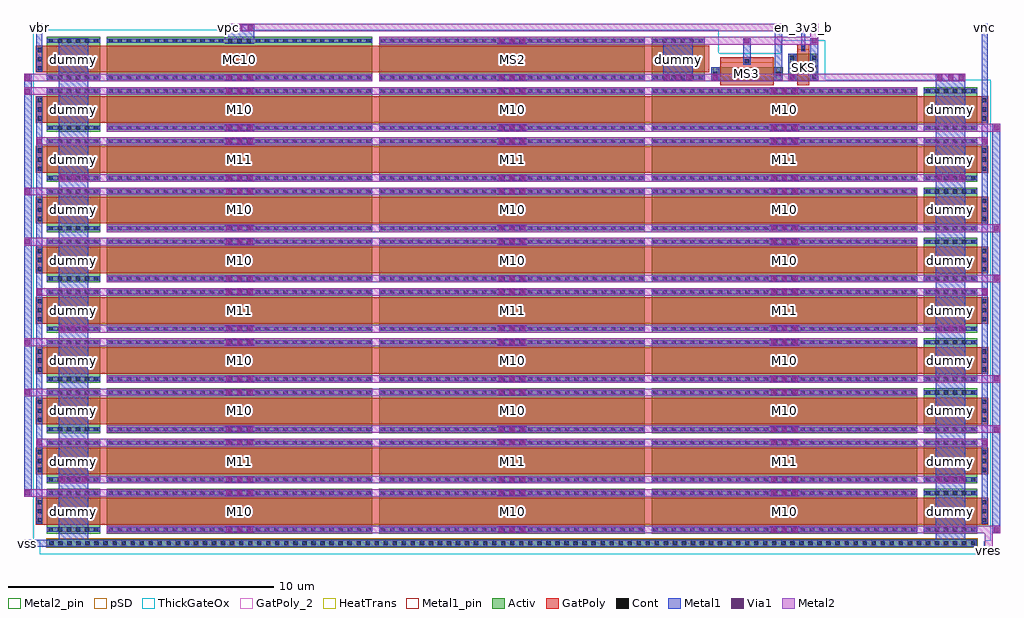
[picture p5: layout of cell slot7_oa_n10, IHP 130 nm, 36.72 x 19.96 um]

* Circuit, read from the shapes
.subckt slot7_oa_n10 en_3v3_b ks vbr vnc vpc vres vss
XM1 vss vnc vss vss sg13_hv_nmos w=2u l=1u m=18
XM2 vss vbr vss vss sg13_hv_nmos w=2u l=1u m=2
XM3 n1 vnc vres vss sg13_hv_nmos w=10u l=1u m=18
XM4 vnc vnc vss vss sg13_hv_nmos w=10u l=1u m=9
XM5 vpc vbr n1 vss sg13_hv_nmos w=10u l=1u
XM6 ks vbr vss vss sg13_hv_nmos w=10u l=1u
XM7 vpc ks vss vss sg13_hv_nmos w=0.5u l=2u
XM8 ks en_3v3_b vss vss sg13_hv_nmos w=1u l=0.45u
.ends

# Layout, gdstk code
from math import pi, radians
import gdstk
lib = gdstk.Library(unit=1e-6, precision=1e-09)
def R(c, l, rs):  # rectangles x0, y0, x1, y1
    for r in rs: c.add(gdstk.rectangle(r[:2], r[2:], *l))
def A(c, l, x, y, w, h, nx, ny, dx, dy):  # array of equal rectangles
    R(c, l, [(x+i*dx, y+j*dy, x+i*dx+w, y+j*dy+h) for i in range(nx) for j in range(ny)])
def P(c, l, *ps):  # polygons
    for p in ps: c.add(gdstk.Polygon(p, *l))
Activ = (1, 0)
GatPoly = (5, 0)
GatPoly_2 = (5, 2)
Cont = (6, 0)
Metal1 = (8, 0)
Metal1_pin = (8, 2)
Metal2 = (10, 0)
Metal2_pin = (10, 2)
pSD = (14, 0)
Via1 = (19, 0)
ThickGateOx = (44, 0)
HeatTrans = (51, 0)

slot7_nmoshv_7 = lib.new_cell('slot7_nmosHV_7')
R(slot7_nmoshv_7, Activ, [(0,0,0.3,0.3), (0,0,1.68,10), (1.38,0,1.68,0.3)])
R(slot7_nmoshv_7, GatPoly, [(0.34,-0.18,1.34,10.18)])
R(slot7_nmoshv_7, GatPoly_2, [(0.34,-0.18,1.34,10.18)])
A(slot7_nmoshv_7, Cont, 0.07, 0.07, 0.16, 0.16, 1, 4, 0, 0.345)
A(slot7_nmoshv_7, Cont, 1.45, 0.07, 0.16, 0.16, 1, 4, 0, 0.345)
A(slot7_nmoshv_7, Cont, 0.07, 1.455, 0.16, 0.16, 1, 3, 0, 0.345)
A(slot7_nmoshv_7, Cont, 1.45, 1.455, 0.16, 0.16, 1, 3, 0, 0.345)
A(slot7_nmoshv_7, Cont, 0.07, 2.495, 0.16, 0.16, 1, 4, 0, 0.345)
A(slot7_nmoshv_7, Cont, 1.45, 2.495, 0.16, 0.16, 1, 4, 0, 0.345)
A(slot7_nmoshv_7, Cont, 0.07, 3.88, 0.16, 0.16, 1, 3, 0, 0.345)
A(slot7_nmoshv_7, Cont, 1.45, 3.88, 0.16, 0.16, 1, 3, 0, 0.345)
A(slot7_nmoshv_7, Cont, 0.07, 4.92, 0.16, 0.16, 1, 4, 0, 0.345)
A(slot7_nmoshv_7, Cont, 1.45, 4.92, 0.16, 0.16, 1, 4, 0, 0.345)
A(slot7_nmoshv_7, Cont, 0.07, 6.305, 0.16, 0.16, 1, 3, 0, 0.345)
A(slot7_nmoshv_7, Cont, 1.45, 6.305, 0.16, 0.16, 1, 3, 0, 0.345)
A(slot7_nmoshv_7, Cont, 0.07, 7.345, 0.16, 0.16, 1, 4, 0, 0.345)
A(slot7_nmoshv_7, Cont, 1.45, 7.345, 0.16, 0.16, 1, 4, 0, 0.345)
A(slot7_nmoshv_7, Cont, 0.07, 8.73, 0.16, 0.16, 1, 3, 0, 0.345)
A(slot7_nmoshv_7, Cont, 1.45, 8.73, 0.16, 0.16, 1, 3, 0, 0.345)
R(slot7_nmoshv_7, Cont, [(0.07,9.77,0.23,9.93), (1.45,9.77,1.61,9.93)])
R(slot7_nmoshv_7, Metal1, [(0.07,0,0.23,10), (1.45,0,1.61,10)])
R(slot7_nmoshv_7, Metal1_pin, [(0.07,0,0.23,10), (1.45,0,1.61,10)])
R(slot7_nmoshv_7, ThickGateOx, [(-0.27,-0.52,1.95,10.52)])
R(slot7_nmoshv_7, HeatTrans, [(0.34,-0.18,1.34,10.18)])
slot7_nmoshv_7.add(gdstk.Label('nmosHV', (0.84,5), layer=63, texttype=0))
slot7_nmoshv_7.add(gdstk.Label('nmosHV', (0.84,5), layer=51, texttype=0))

slot7_nmoshv_w2_l1 = lib.new_cell('slot7_nmosHV_w2_l1')
R(slot7_nmoshv_w2_l1, Activ, [(0,0,0.3,0.3), (0,0,1.68,2), (1.38,0,1.68,0.3)])
R(slot7_nmoshv_w2_l1, GatPoly, [(0.34,-0.18,1.34,2.18)])
R(slot7_nmoshv_w2_l1, GatPoly_2, [(0.34,-0.18,1.34,2.18)])
A(slot7_nmoshv_w2_l1, Cont, 0.07, 0.07, 0.16, 0.16, 1, 6, 0, 0.34)
A(slot7_nmoshv_w2_l1, Cont, 1.45, 0.07, 0.16, 0.16, 1, 6, 0, 0.34)
R(slot7_nmoshv_w2_l1, Metal1, [(0.07,0,0.23,2), (1.45,0,1.61,2)])
R(slot7_nmoshv_w2_l1, Metal1_pin, [(0.07,0,0.23,2), (1.45,0,1.61,2)])
R(slot7_nmoshv_w2_l1, ThickGateOx, [(-0.27,-0.52,1.95,2.52)])
R(slot7_nmoshv_w2_l1, HeatTrans, [(0.34,-0.18,1.34,2.18)])
slot7_nmoshv_w2_l1.add(gdstk.Label('nmosHV', (0.84,1), layer=63, texttype=0))
slot7_nmoshv_w2_l1.add(gdstk.Label('nmosHV', (0.84,1), layer=51, texttype=0))

slot7_nmoshv_9 = lib.new_cell('slot7_nmosHV_9')
R(slot7_nmoshv_9, Activ, [(0,0,0.3,0.3), (0,0,2.68,0.5), (2.38,0,2.68,0.3)])
R(slot7_nmoshv_9, GatPoly, [(0.34,-0.18,2.34,0.68)])
R(slot7_nmoshv_9, GatPoly_2, [(0.34,-0.18,2.34,0.68)])
R(slot7_nmoshv_9, Cont, [(0.07,0.17,0.23,0.33), (2.45,0.17,2.61,0.33)])
R(slot7_nmoshv_9, Metal1, [(0.07,0,0.23,0.5), (2.45,0,2.61,0.5)])
R(slot7_nmoshv_9, Metal1_pin, [(0.07,0,0.23,0.5), (2.45,0,2.61,0.5)])
R(slot7_nmoshv_9, ThickGateOx, [(-0.27,-0.52,2.95,1.02)])
R(slot7_nmoshv_9, HeatTrans, [(0.34,-0.18,2.34,0.68)])
slot7_nmoshv_9.add(gdstk.Label('nmosHV', (1.34,0.25), layer=63, texttype=0))
slot7_nmoshv_9.add(gdstk.Label('nmosHV', (1.34,0.25), layer=51, texttype=0))

slot7_nmoshv_5 = lib.new_cell('slot7_nmosHV_5')
R(slot7_nmoshv_5, Activ, [(0,0,0.3,0.3), (0,0,1.13,1), (0.83,0,1.13,0.3)])
R(slot7_nmoshv_5, GatPoly, [(0.34,-0.18,0.79,1.18)])
R(slot7_nmoshv_5, GatPoly_2, [(0.34,-0.18,0.79,1.18)])
A(slot7_nmoshv_5, Cont, 0.07, 0.07, 0.16, 0.16, 1, 3, 0, 0.35)
A(slot7_nmoshv_5, Cont, 0.9, 0.07, 0.16, 0.16, 1, 3, 0, 0.35)
R(slot7_nmoshv_5, Metal1, [(0.07,0,0.23,1), (0.9,0,1.06,1)])
R(slot7_nmoshv_5, Metal1_pin, [(0.07,0,0.23,1), (0.9,0,1.06,1)])
R(slot7_nmoshv_5, ThickGateOx, [(-0.27,-0.52,1.4,1.52)])
R(slot7_nmoshv_5, HeatTrans, [(0.34,-0.18,0.79,1.18)])
slot7_nmoshv_5.add(gdstk.Label('nmosHV', (0.565,0.5), layer=63, texttype=0))
slot7_nmoshv_5.add(gdstk.Label('nmosHV', (0.565,0.5), layer=51, texttype=0))

slot7_oa_n10 = lib.new_cell('slot7_oa_n10')
R(slot7_oa_n10, Activ, [(0,-0.51,35,-0.21)])
A(slot7_oa_n10, GatPoly, -0.41, 0.34, 0.41, 1, 1, 10, 0, 1.89)
A(slot7_oa_n10, GatPoly, 35, 0.34, 0.41, 1, 1, 9, 0, 1.89)
R(slot7_oa_n10, GatPoly, [(25.34,17.55,27.34,17.92), (28.23,18.05,28.68,18.42)])
A(slot7_oa_n10, Cont, 0.09, -0.44, 0.16, 0.16, 103, 1, 0.34, 0)
A(slot7_oa_n10, Cont, -0.34, 0.42, 0.16, 0.16, 1, 3, 0, 0.34)
A(slot7_oa_n10, Cont, 35.18, 0.42, 0.16, 0.16, 1, 3, 0, 0.34)
A(slot7_oa_n10, Cont, -0.34, 2.31, 0.16, 0.16, 1, 3, 0, 0.34)
A(slot7_oa_n10, Cont, 35.18, 2.31, 0.16, 0.16, 1, 3, 0, 0.34)
A(slot7_oa_n10, Cont, -0.34, 4.2, 0.16, 0.16, 1, 3, 0, 0.34)
A(slot7_oa_n10, Cont, 35.18, 4.2, 0.16, 0.16, 1, 3, 0, 0.34)
A(slot7_oa_n10, Cont, -0.34, 6.09, 0.16, 0.16, 1, 3, 0, 0.34)
A(slot7_oa_n10, Cont, 35.18, 6.09, 0.16, 0.16, 1, 3, 0, 0.34)
A(slot7_oa_n10, Cont, -0.34, 7.98, 0.16, 0.16, 1, 3, 0, 0.34)
A(slot7_oa_n10, Cont, 35.18, 7.98, 0.16, 0.16, 1, 3, 0, 0.34)
A(slot7_oa_n10, Cont, -0.34, 9.87, 0.16, 0.16, 1, 3, 0, 0.34)
A(slot7_oa_n10, Cont, 35.18, 9.87, 0.16, 0.16, 1, 3, 0, 0.34)
A(slot7_oa_n10, Cont, -0.34, 11.76, 0.16, 0.16, 1, 3, 0, 0.34)
A(slot7_oa_n10, Cont, 35.18, 11.76, 0.16, 0.16, 1, 3, 0, 0.34)
A(slot7_oa_n10, Cont, -0.34, 13.65, 0.16, 0.16, 1, 3, 0, 0.34)
A(slot7_oa_n10, Cont, 35.18, 13.65, 0.16, 0.16, 1, 3, 0, 0.34)
A(slot7_oa_n10, Cont, -0.34, 15.54, 0.16, 0.16, 1, 3, 0, 0.34)
A(slot7_oa_n10, Cont, 35.18, 15.54, 0.16, 0.16, 1, 3, 0, 0.34)
A(slot7_oa_n10, Cont, -0.34, 17.43, 0.16, 0.16, 1, 3, 0, 0.34)
R(slot7_oa_n10, Cont, [(26.26,17.69,26.42,17.85), (28.375,18.19,28.535,18.35)])
A(slot7_oa_n10, Metal1, 6.695, 0.045, 1.11, 0.21, 3, 2, 10.25, 1.38)
A(slot7_oa_n10, Metal1, 6.695, 1.935, 1.11, 0.21, 3, 2, 10.25, 1.38)
A(slot7_oa_n10, Metal1, 6.695, 3.825, 1.11, 0.21, 3, 2, 10.25, 1.38)
A(slot7_oa_n10, Metal1, 6.695, 5.715, 1.11, 0.21, 3, 2, 10.25, 1.38)
A(slot7_oa_n10, Metal1, 6.695, 7.605, 1.11, 0.21, 3, 2, 10.25, 1.38)
A(slot7_oa_n10, Metal1, 6.695, 9.495, 1.11, 0.21, 3, 2, 10.25, 1.38)
A(slot7_oa_n10, Metal1, 6.695, 11.385, 1.11, 0.21, 3, 2, 10.25, 1.38)
A(slot7_oa_n10, Metal1, 6.695, 13.275, 1.11, 0.21, 3, 2, 10.25, 1.38)
A(slot7_oa_n10, Metal1, 6.695, 15.165, 1.11, 0.21, 3, 2, 10.25, 1.38)
R(slot7_oa_n10, Metal1, [(-0.86,-0.49,0.04,-0.23), (0.04,-0.49,34.98,-0.23), (0.445,-0.49,1.555,18.645), (33.445,-0.49,34.555,17.305), (35.57,0.005,35.86,15.415), (-0.39,0.37,-0.18,16.43), (35.18,0.37,35.39,19.185), (-0.86,1.385,-0.57,17.305), (27.385,17.05,27.675,19.145), (28.725,17.05,29.015,18.645), (6.695,17.055,7.805,17.265), (16.945,17.055,18.055,17.265), (23.195,17.055,24.305,18.645), (25.005,17.055,25.295,17.55), (27.895,17.055,28.185,18.05), (-0.39,17.38,-0.18,19.185), (26.195,17.64,26.485,18.645), (28.375,18.14,28.535,19.185), (6.695,18.435,7.805,19.145), (16.945,18.435,18.055,18.645)])
R(slot7_oa_n10, Metal1_pin, [(-0.86,-0.49,-0.57,-0.23), (-0.39,18.895,-0.18,19.185), (28.375,18.895,28.535,19.185), (35.18,18.895,35.39,19.185)])
R(slot7_oa_n10, Metal2, [(35.295,-0.78,35.585,0.295), (28.725,18.395,29.015,19.185)])
R(slot7_oa_n10, Metal2_pin, [(35.295,-0.78,35.585,-0.49), (6.695,18.895,6.985,19.185), (28.725,18.895,29.015,19.185)])
R(slot7_oa_n10, pSD, [(-0.03,-0.54,35.03,-0.18)])
A(slot7_oa_n10, Via1, 6.745, 0.055, 0.19, 0.19, 3, 2, 0.41, 1.38)
A(slot7_oa_n10, Via1, 16.995, 0.055, 0.19, 0.19, 3, 2, 0.41, 1.38)
A(slot7_oa_n10, Via1, 27.245, 0.055, 0.19, 0.19, 3, 2, 0.41, 1.38)
A(slot7_oa_n10, Via1, 0.495, 1.945, 0.19, 0.19, 3, 3, 0.41, 5.67)
A(slot7_oa_n10, Via1, 6.745, 1.945, 0.19, 0.19, 3, 2, 0.41, 1.38)
A(slot7_oa_n10, Via1, 16.995, 1.945, 0.19, 0.19, 3, 2, 0.41, 1.38)
A(slot7_oa_n10, Via1, 27.245, 1.945, 0.19, 0.19, 3, 2, 0.41, 1.38)
A(slot7_oa_n10, Via1, 33.495, 1.945, 0.19, 0.19, 3, 3, 0.41, 5.67)
A(slot7_oa_n10, Via1, -0.38, 3.325, 0.19, 0.19, 1, 3, 0, 5.67)
A(slot7_oa_n10, Via1, 35.19, 3.325, 0.19, 0.19, 1, 3, 0, 5.67)
A(slot7_oa_n10, Via1, 6.745, 3.835, 0.19, 0.19, 3, 2, 0.41, 1.38)
A(slot7_oa_n10, Via1, 16.995, 3.835, 0.19, 0.19, 3, 2, 0.41, 1.38)
A(slot7_oa_n10, Via1, 27.245, 3.835, 0.19, 0.19, 3, 2, 0.41, 1.38)
A(slot7_oa_n10, Via1, 6.745, 5.725, 0.19, 0.19, 3, 2, 0.41, 1.38)
A(slot7_oa_n10, Via1, 16.995, 5.725, 0.19, 0.19, 3, 2, 0.41, 1.38)
A(slot7_oa_n10, Via1, 27.245, 5.725, 0.19, 0.19, 3, 2, 0.41, 1.38)
A(slot7_oa_n10, Via1, 6.745, 7.615, 0.19, 0.19, 3, 2, 0.41, 1.38)
A(slot7_oa_n10, Via1, 16.995, 7.615, 0.19, 0.19, 3, 2, 0.41, 1.38)
A(slot7_oa_n10, Via1, 27.245, 7.615, 0.19, 0.19, 3, 2, 0.41, 1.38)
A(slot7_oa_n10, Via1, 6.745, 9.505, 0.19, 0.19, 3, 2, 0.41, 1.38)
A(slot7_oa_n10, Via1, 16.995, 9.505, 0.19, 0.19, 3, 2, 0.41, 1.38)
A(slot7_oa_n10, Via1, 27.245, 9.505, 0.19, 0.19, 3, 2, 0.41, 1.38)
A(slot7_oa_n10, Via1, 6.745, 11.395, 0.19, 0.19, 3, 2, 0.41, 1.38)
A(slot7_oa_n10, Via1, 16.995, 11.395, 0.19, 0.19, 3, 2, 0.41, 1.38)
A(slot7_oa_n10, Via1, 27.245, 11.395, 0.19, 0.19, 3, 2, 0.41, 1.38)
A(slot7_oa_n10, Via1, 6.745, 13.285, 0.19, 0.19, 3, 2, 0.41, 1.38)
A(slot7_oa_n10, Via1, 16.995, 13.285, 0.19, 0.19, 3, 2, 0.41, 1.38)
A(slot7_oa_n10, Via1, 27.245, 13.285, 0.19, 0.19, 3, 2, 0.41, 1.38)
A(slot7_oa_n10, Via1, 6.745, 15.175, 0.19, 0.19, 3, 2, 0.41, 1.38)
A(slot7_oa_n10, Via1, 16.995, 15.175, 0.19, 0.19, 3, 2, 0.41, 1.38)
A(slot7_oa_n10, Via1, 27.245, 15.175, 0.19, 0.19, 3, 2, 0.41, 1.38)
A(slot7_oa_n10, Via1, 6.745, 17.065, 0.19, 0.19, 3, 2, 0.41, 1.88)
A(slot7_oa_n10, Via1, 16.995, 17.065, 0.19, 0.19, 3, 2, 0.41, 1.38)
A(slot7_oa_n10, Via1, 23.245, 17.065, 0.19, 0.19, 3, 1, 0.41, 0)
A(slot7_oa_n10, Via1, 33.495, 17.065, 0.19, 0.19, 3, 1, 0.41, 0)
R(slot7_oa_n10, Via1, [(35.62,0.055,35.81,0.245), (-0.81,1.435,-0.62,1.625), (35.62,3.835,35.81,4.025), (-0.81,5.215,-0.62,5.405), (35.62,5.725,35.81,5.915), (-0.81,7.105,-0.62,7.295), (35.62,9.505,35.81,9.695), (-0.81,10.885,-0.62,11.075), (35.62,11.395,35.81,11.585), (-0.81,12.775,-0.62,12.965), (35.62,15.175,35.81,15.365), (-0.81,16.555,-0.62,16.745), (-0.81,17.065,-0.62,17.255), (25.055,17.065,25.245,17.255), (27.945,17.065,28.135,17.255), (26.245,18.445,26.435,18.635), (28.775,18.445,28.965,18.635), (27.435,18.945,27.625,19.135)])
P(slot7_oa_n10, ThickGateOx, [(-0.27,-0.78),(-0.27,-0.27),(-0.52,-0.27),(-0.52,18.96),(25.27,18.96),(25.27,18.07),(27.62,18.07),(27.62,18.57),(29.29,18.57),(29.29,17.07),(35.52,17.07),(35.52,-0.27),(35.27,-0.27),(35.27,-0.78)])
slot7_oa_n10.add(gdstk.FlexPath([(2.395,0.15),(35.715,0.15)], 0.29, ends="extended", simple_path=True, layer=10, datatype=0))  # Metal2
slot7_oa_n10.add(gdstk.FlexPath([(-0.715,1.53),(32.605,1.53)], 0.29, ends="extended", simple_path=True, layer=10, datatype=0))  # Metal2
slot7_oa_n10.add(gdstk.FlexPath([(0.59,2.04),(34.41,2.04)], 0.29, ends="extended", simple_path=True, layer=10, datatype=0))  # Metal2
slot7_oa_n10.add(gdstk.FlexPath([(-0.245,3.42),(35.245,3.42)], 0.29, ends="extended", simple_path=True, layer=10, datatype=0))  # Metal2
slot7_oa_n10.add(gdstk.FlexPath([(2.395,3.93),(35.715,3.93)], 0.29, ends="extended", simple_path=True, layer=10, datatype=0))  # Metal2
slot7_oa_n10.add(gdstk.FlexPath([(-0.715,5.31),(32.605,5.31)], 0.29, ends="extended", simple_path=True, layer=10, datatype=0))  # Metal2
slot7_oa_n10.add(gdstk.FlexPath([(2.395,5.82),(35.715,5.82)], 0.29, ends="extended", simple_path=True, layer=10, datatype=0))  # Metal2
slot7_oa_n10.add(gdstk.FlexPath([(-0.715,7.2),(32.605,7.2)], 0.29, ends="extended", simple_path=True, layer=10, datatype=0))  # Metal2
slot7_oa_n10.add(gdstk.FlexPath([(0.59,7.71),(34.41,7.71)], 0.29, ends="extended", simple_path=True, layer=10, datatype=0))  # Metal2
slot7_oa_n10.add(gdstk.FlexPath([(-0.245,9.09),(35.245,9.09)], 0.29, ends="extended", simple_path=True, layer=10, datatype=0))  # Metal2
slot7_oa_n10.add(gdstk.FlexPath([(2.395,9.6),(35.715,9.6)], 0.29, ends="extended", simple_path=True, layer=10, datatype=0))  # Metal2
slot7_oa_n10.add(gdstk.FlexPath([(-0.715,10.98),(32.605,10.98)], 0.29, ends="extended", simple_path=True, layer=10, datatype=0))  # Metal2
slot7_oa_n10.add(gdstk.FlexPath([(2.395,11.49),(35.715,11.49)], 0.29, ends="extended", simple_path=True, layer=10, datatype=0))  # Metal2
slot7_oa_n10.add(gdstk.FlexPath([(-0.715,12.87),(32.605,12.87)], 0.29, ends="extended", simple_path=True, layer=10, datatype=0))  # Metal2
slot7_oa_n10.add(gdstk.FlexPath([(0.59,13.38),(34.41,13.38)], 0.29, ends="extended", simple_path=True, layer=10, datatype=0))  # Metal2
slot7_oa_n10.add(gdstk.FlexPath([(-0.245,14.76),(35.245,14.76)], 0.29, ends="extended", simple_path=True, layer=10, datatype=0))  # Metal2
slot7_oa_n10.add(gdstk.FlexPath([(2.395,15.27),(35.715,15.27)], 0.29, ends="extended", simple_path=True, layer=10, datatype=0))  # Metal2
slot7_oa_n10.add(gdstk.FlexPath([(-0.715,16.65),(32.605,16.65)], 0.29, ends="extended", simple_path=True, layer=10, datatype=0))  # Metal2
slot7_oa_n10.add(gdstk.FlexPath([(-0.715,17.16),(12.105,17.16)], 0.29, ends="extended", simple_path=True, layer=10, datatype=0))  # Metal2
slot7_oa_n10.add(gdstk.FlexPath([(12.645,17.16),(34.41,17.16)], 0.29, ends="extended", simple_path=True, layer=10, datatype=0))  # Metal2
slot7_oa_n10.add(gdstk.FlexPath([(12.645,18.54),(28.87,18.54)], 0.29, ends="extended", simple_path=True, layer=10, datatype=0))  # Metal2
slot7_oa_n10.add(gdstk.FlexPath([(6.84,19.04),(27.53,19.04)], 0.29, ends="extended", simple_path=True, layer=10, datatype=0))  # Metal2
r = gdstk.Reference(slot7_nmoshv_7, (2.25,1.68), rotation=3*pi/2); r.repetition = gdstk.Repetition(1, 3, v1=(0,0), v2=(10.25,0)); slot7_oa_n10.add(r)
r = gdstk.Reference(slot7_nmoshv_7, (2.25,18.69), rotation=3*pi/2); r.repetition = gdstk.Repetition(1, 2, v1=(0,0), v2=(10.25,0)); slot7_oa_n10.add(r)
r = gdstk.Reference(slot7_nmoshv_7, (2.25,16.8), rotation=3*pi/2); r.repetition = gdstk.Repetition(1, 3, v1=(0,0), v2=(10.25,0)); slot7_oa_n10.add(r)
r = gdstk.Reference(slot7_nmoshv_7, (2.25,14.91), rotation=3*pi/2); r.repetition = gdstk.Repetition(1, 3, v1=(0,0), v2=(10.25,0)); slot7_oa_n10.add(r)
r = gdstk.Reference(slot7_nmoshv_7, (2.25,13.02), rotation=3*pi/2); r.repetition = gdstk.Repetition(1, 3, v1=(0,0), v2=(10.25,0)); slot7_oa_n10.add(r)
r = gdstk.Reference(slot7_nmoshv_7, (2.25,11.13), rotation=3*pi/2); r.repetition = gdstk.Repetition(1, 3, v1=(0,0), v2=(10.25,0)); slot7_oa_n10.add(r)
r = gdstk.Reference(slot7_nmoshv_7, (2.25,9.24), rotation=3*pi/2); r.repetition = gdstk.Repetition(1, 3, v1=(0,0), v2=(10.25,0)); slot7_oa_n10.add(r)
r = gdstk.Reference(slot7_nmoshv_7, (2.25,7.35), rotation=3*pi/2); r.repetition = gdstk.Repetition(1, 3, v1=(0,0), v2=(10.25,0)); slot7_oa_n10.add(r)
r = gdstk.Reference(slot7_nmoshv_7, (2.25,5.46), rotation=3*pi/2); r.repetition = gdstk.Repetition(1, 3, v1=(0,0), v2=(10.25,0)); slot7_oa_n10.add(r)
r = gdstk.Reference(slot7_nmoshv_7, (2.25,3.57), rotation=3*pi/2); r.repetition = gdstk.Repetition(1, 3, v1=(0,0), v2=(10.25,0)); slot7_oa_n10.add(r)
slot7_oa_n10.add(gdstk.Reference(slot7_nmoshv_w2_l1, (0,7.35), rotation=3*pi/2))
slot7_oa_n10.add(gdstk.Reference(slot7_nmoshv_w2_l1, (22.75,18.69), rotation=3*pi/2))
slot7_oa_n10.add(gdstk.Reference(slot7_nmoshv_w2_l1, (0,1.68), rotation=3*pi/2))
slot7_oa_n10.add(gdstk.Reference(slot7_nmoshv_w2_l1, (0,18.69), rotation=3*pi/2))
slot7_oa_n10.add(gdstk.Reference(slot7_nmoshv_w2_l1, (33,16.8), rotation=3*pi/2))
slot7_oa_n10.add(gdstk.Reference(slot7_nmoshv_w2_l1, (33,1.68), rotation=3*pi/2))
slot7_oa_n10.add(gdstk.Reference(slot7_nmoshv_w2_l1, (0,16.8), rotation=3*pi/2))
slot7_oa_n10.add(gdstk.Reference(slot7_nmoshv_w2_l1, (33,14.91), rotation=3*pi/2))
slot7_oa_n10.add(gdstk.Reference(slot7_nmoshv_w2_l1, (0,3.57), rotation=3*pi/2))
slot7_oa_n10.add(gdstk.Reference(slot7_nmoshv_w2_l1, (0,14.91), rotation=3*pi/2))
slot7_oa_n10.add(gdstk.Reference(slot7_nmoshv_w2_l1, (33,13.02), rotation=3*pi/2))
slot7_oa_n10.add(gdstk.Reference(slot7_nmoshv_w2_l1, (0,13.02), rotation=3*pi/2))
slot7_oa_n10.add(gdstk.Reference(slot7_nmoshv_w2_l1, (33,11.13), rotation=3*pi/2))
slot7_oa_n10.add(gdstk.Reference(slot7_nmoshv_w2_l1, (33,3.57), rotation=3*pi/2))
slot7_oa_n10.add(gdstk.Reference(slot7_nmoshv_w2_l1, (0,11.13), rotation=3*pi/2))
slot7_oa_n10.add(gdstk.Reference(slot7_nmoshv_w2_l1, (33,9.24), rotation=3*pi/2))
slot7_oa_n10.add(gdstk.Reference(slot7_nmoshv_w2_l1, (0,5.46), rotation=3*pi/2))
slot7_oa_n10.add(gdstk.Reference(slot7_nmoshv_w2_l1, (0,9.24), rotation=3*pi/2))
slot7_oa_n10.add(gdstk.Reference(slot7_nmoshv_w2_l1, (33,7.35), rotation=3*pi/2))
slot7_oa_n10.add(gdstk.Reference(slot7_nmoshv_w2_l1, (33,5.46), rotation=3*pi/2))
slot7_oa_n10.add(gdstk.Reference(slot7_nmoshv_9, (25,17.05)))
slot7_oa_n10.add(gdstk.Reference(slot7_nmoshv_5, (27.89,17.05)))
slot7_oa_n10.add(gdstk.Label('en_3v3_b', (28.455,19.04), layer=8, texttype=25))
slot7_oa_n10.add(gdstk.Label('vnc', (35.285,19.04), layer=8, texttype=25))
slot7_oa_n10.add(gdstk.Label('vbr', (-0.285,19.04), layer=8, texttype=25))
slot7_oa_n10.add(gdstk.Label('vss', (-0.715,-0.36), layer=8, texttype=25))
slot7_oa_n10.add(gdstk.Label('ks', (28.87,19.04), layer=10, texttype=25))
slot7_oa_n10.add(gdstk.Label('vpc', (6.84,19.04), layer=10, texttype=25))
slot7_oa_n10.add(gdstk.Label('vres', (35.44,-0.635), layer=10, texttype=25))
slot7_oa_n10.add(gdstk.Label('dummy', (1,0.84), layer=63, texttype=0))
slot7_oa_n10.add(gdstk.Label('M10', (7.25,0.84), layer=63, texttype=0))
slot7_oa_n10.add(gdstk.Label('M10', (17.5,0.84), layer=63, texttype=0))
slot7_oa_n10.add(gdstk.Label('M10', (27.75,0.84), layer=63, texttype=0))
slot7_oa_n10.add(gdstk.Label('dummy', (34,0.84), layer=63, texttype=0))
slot7_oa_n10.add(gdstk.Label('dummy', (1,2.73), layer=63, texttype=0))
slot7_oa_n10.add(gdstk.Label('M11', (7.25,2.73), layer=63, texttype=0))
slot7_oa_n10.add(gdstk.Label('M11', (17.5,2.73), layer=63, texttype=0))
slot7_oa_n10.add(gdstk.Label('M11', (27.75,2.73), layer=63, texttype=0))
slot7_oa_n10.add(gdstk.Label('dummy', (34,2.73), layer=63, texttype=0))
slot7_oa_n10.add(gdstk.Label('dummy', (1,4.62), layer=63, texttype=0))
slot7_oa_n10.add(gdstk.Label('M10', (7.25,4.62), layer=63, texttype=0))
slot7_oa_n10.add(gdstk.Label('M10', (17.5,4.62), layer=63, texttype=0))
slot7_oa_n10.add(gdstk.Label('M10', (27.75,4.62), layer=63, texttype=0))
slot7_oa_n10.add(gdstk.Label('dummy', (34,4.62), layer=63, texttype=0))
slot7_oa_n10.add(gdstk.Label('dummy', (1,6.51), layer=63, texttype=0))
slot7_oa_n10.add(gdstk.Label('M10', (7.25,6.51), layer=63, texttype=0))
slot7_oa_n10.add(gdstk.Label('M10', (17.5,6.51), layer=63, texttype=0))
slot7_oa_n10.add(gdstk.Label('M10', (27.75,6.51), layer=63, texttype=0))
slot7_oa_n10.add(gdstk.Label('dummy', (34,6.51), layer=63, texttype=0))
slot7_oa_n10.add(gdstk.Label('dummy', (1,8.4), layer=63, texttype=0))
slot7_oa_n10.add(gdstk.Label('M11', (7.25,8.4), layer=63, texttype=0))
slot7_oa_n10.add(gdstk.Label('M11', (17.5,8.4), layer=63, texttype=0))
slot7_oa_n10.add(gdstk.Label('M11', (27.75,8.4), layer=63, texttype=0))
slot7_oa_n10.add(gdstk.Label('dummy', (34,8.4), layer=63, texttype=0))
slot7_oa_n10.add(gdstk.Label('dummy', (1,10.29), layer=63, texttype=0))
slot7_oa_n10.add(gdstk.Label('M10', (7.25,10.29), layer=63, texttype=0))
slot7_oa_n10.add(gdstk.Label('M10', (17.5,10.29), layer=63, texttype=0))
slot7_oa_n10.add(gdstk.Label('M10', (27.75,10.29), layer=63, texttype=0))
slot7_oa_n10.add(gdstk.Label('dummy', (34,10.29), layer=63, texttype=0))
slot7_oa_n10.add(gdstk.Label('dummy', (1,12.18), layer=63, texttype=0))
slot7_oa_n10.add(gdstk.Label('M10', (7.25,12.18), layer=63, texttype=0))
slot7_oa_n10.add(gdstk.Label('M10', (17.5,12.18), layer=63, texttype=0))
slot7_oa_n10.add(gdstk.Label('M10', (27.75,12.18), layer=63, texttype=0))
slot7_oa_n10.add(gdstk.Label('dummy', (34,12.18), layer=63, texttype=0))
slot7_oa_n10.add(gdstk.Label('dummy', (1,14.07), layer=63, texttype=0))
slot7_oa_n10.add(gdstk.Label('M11', (7.25,14.07), layer=63, texttype=0))
slot7_oa_n10.add(gdstk.Label('M11', (17.5,14.07), layer=63, texttype=0))
slot7_oa_n10.add(gdstk.Label('M11', (27.75,14.07), layer=63, texttype=0))
slot7_oa_n10.add(gdstk.Label('dummy', (34,14.07), layer=63, texttype=0))
slot7_oa_n10.add(gdstk.Label('dummy', (1,15.96), layer=63, texttype=0))
slot7_oa_n10.add(gdstk.Label('M10', (7.25,15.96), layer=63, texttype=0))
slot7_oa_n10.add(gdstk.Label('M10', (17.5,15.96), layer=63, texttype=0))
slot7_oa_n10.add(gdstk.Label('M10', (27.75,15.96), layer=63, texttype=0))
slot7_oa_n10.add(gdstk.Label('dummy', (34,15.96), layer=63, texttype=0))
slot7_oa_n10.add(gdstk.Label('dummy', (1,17.85), layer=63, texttype=0))
slot7_oa_n10.add(gdstk.Label('MC10', (7.25,17.85), layer=63, texttype=0))
slot7_oa_n10.add(gdstk.Label('MS2', (17.5,17.85), layer=63, texttype=0))
slot7_oa_n10.add(gdstk.Label('dummy', (23.75,17.85), layer=63, texttype=0))
slot7_oa_n10.add(gdstk.Label('MS3', (26.34,17.3), layer=63, texttype=0))
slot7_oa_n10.add(gdstk.Label('SKS', (28.455,17.55), layer=63, texttype=0))

lib.write_gds('slot7_oa_n10.gds')
